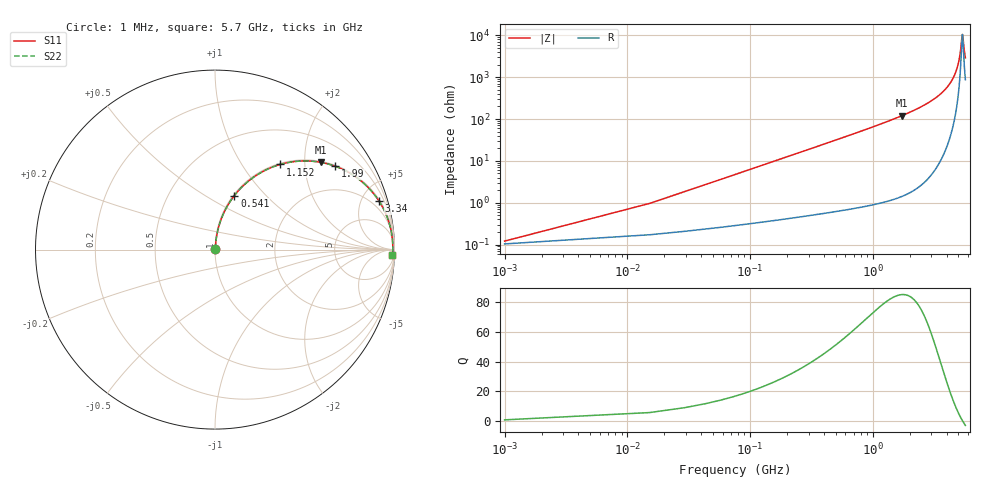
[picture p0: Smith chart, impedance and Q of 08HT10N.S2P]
! Coilcraft 0805HT-10N Chip Inductor
! 24 June 2002
# MHZ S MA R 50
!Freq  MagS11  AngS11  MagS21  AngS21  MagS12  AngS12  MagS22  AngS22
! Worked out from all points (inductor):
!   403 points, 1 MHz to 5.7 GHz, reference 50 ohm
!   read as one part in series: L = 9.9 nH near 29.42 MHz
!   highest Q = 85.2 at 1.735 GHz (marker M1), where L = 11 nH
!   self-resonance near 5.387 GHz
!   S11 on the Smith chart (normalised r, x): 1 MHz: 1.00, +0.00; 541 MHz: 1.01, +0.68; 1.152 GHz: 1.02, +1.50; 1.99 GHz: 1.03, +2.87; 3.34 GHz: 1.14, +6.74; 5.7 GHz: 18, -55
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1  0.001205 31.0  0.999 -0.0  0.999 -0.0  0.001205 31.0
43.63  0.02717 83.5  0.9973 -1.6  0.9973 -1.6  0.02717 83.5
72.05  0.04474 83.9  0.9962 -2.6  0.9962 -2.6  0.04474 83.9
114.68  0.07103 83.3  0.9942 -4.1  0.9942 -4.1  0.07103 83.3
185.73  0.1145 81.4  0.9895 -6.6  0.9895 -6.6  0.1145 81.4
270.99  0.1659 78.9  0.9816 -9.5  0.9816 -9.5  0.1659 78.9
540.98  0.3201 70.3  0.9414 -18.7  0.9414 -18.7  0.3201 70.3
953.07  0.5188 57.9  0.8477 -31.2  0.8477 -31.2  0.5188 57.9
1152.01  0.5968 52.6  0.7947 -36.6  0.7947 -36.6  0.5968 52.6
1734.62  0.7648 39.4  0.6354 -49.9  0.6354 -49.9  0.7648 39.4
1905.14  0.7999 36.2  0.5907 -53.1  0.5907 -53.1  0.7999 36.2
1990.4  0.8156 34.7  0.569 -54.6  0.569 -54.6  0.8156 34.7
2857.21  0.922 21.9  0.3731 -67.2  0.3731 -67.2  0.922 21.9
3340.35  0.9532 16.4  0.2828 -72.4  0.2828 -72.4  0.9532 16.4
3809.28  0.9722 11.9  0.2057 -76.3  0.2057 -76.3  0.9722 11.9
4363.47  0.9849 7.2  0.1255 -79.5  0.1255 -79.5  0.9849 7.2
4761.35  0.9893 4.2  0.07415 -79.6  0.07415 -79.6  0.9893 4.2
5102.39  0.9907 1.9  0.03396 -73.2  0.03396 -73.2  0.9907 1.9
5386.59  0.9906 0.0  0.009453 -4.9  0.009453 -4.9  0.9906 0.0
5429.22  0.9905 -0.2  0.01027 21.7  0.01027 21.7  0.9905 -0.2
5571.32  0.9899 -1.1  0.02148 61.5  0.02148 61.5  0.9899 -1.1
5700  0.9892 -1.9  0.03409 70.7  0.03409 70.7  0.9892 -1.9
